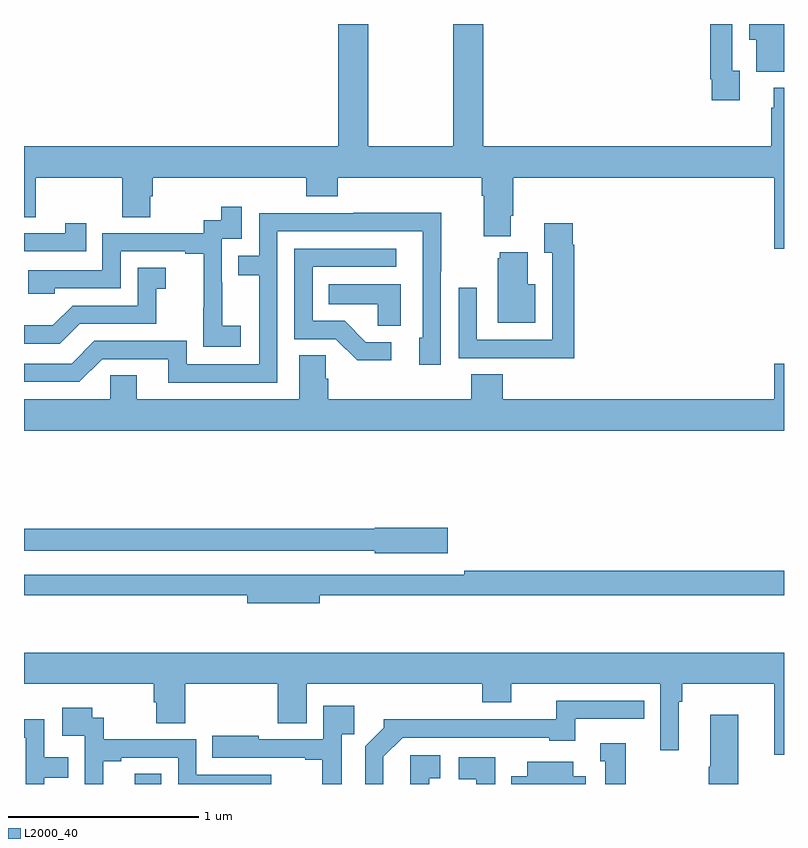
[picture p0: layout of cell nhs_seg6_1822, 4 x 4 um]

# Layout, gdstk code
import gdstk
lib = gdstk.Library(unit=1e-6, precision=1e-09)
def R(c, l, rs):  # rectangles x0, y0, x1, y1
    for r in rs: c.add(gdstk.rectangle(r[:2], r[2:], *l))
def P(c, l, *ps):  # polygons
    for p in ps: c.add(gdstk.Polygon(p, *l))
L2000_40 = (2000, 40)

nhs_seg6_1822 = lib.new_cell('nhs_seg6_1822')
R(nhs_seg6_1822, L2000_40, [(221.582,921.5,221.722,921.554)])
P(nhs_seg6_1822, L2000_40, [(225,925.165),(224.945,925.165),(224.945,925.058),(224.933,925.058),(224.933,924.856),(223.418,924.856),(223.418,925.5),(223.258,925.5),(223.258,924.856),(222.813,924.856),(222.813,925.5),(222.653,925.5),(222.653,924.856),(221,924.856),(221,924.484),(221.061,924.484),(221.061,924.692),(221.518,924.692),(221.518,924.484),(221.665,924.484),(221.665,924.594),(221.678,924.594),(221.678,924.692),(222.485,924.692),(222.485,924.593),(222.65,924.593),(222.65,924.692),(223.409,924.692),(223.409,924.596),(223.421,924.596),(223.421,924.383),(223.561,924.383),(223.561,924.49),(223.574,924.49),(223.574,924.692),(224.948,924.692),(224.948,924.318),(225,924.318)],
  [(225,925.5),(224.816,925.5),(224.816,925.418),(224.855,925.418),(224.855,925.25),(225,925.25)],
  [(224.767,925.254),(224.727,925.254),(224.727,925.5),(224.611,925.5),(224.611,925.21),(224.619,925.21),(224.619,925.098),(224.767,925.098)],
  [(222.142,923.911),(222.044,923.911),(222.044,924.14),(222.042,924.14),(222.042,924.369),(222.147,924.369),(222.147,924.538),(222.039,924.538),(222.039,924.468),(221.946,924.468),(221.946,924.399),(221.412,924.399),(221.412,924.204),(221.023,924.204),(221.023,924.081),(221.163,924.081),(221.163,924.108),(221.508,924.108),(221.508,924.303),(221.849,924.303),(221.849,924.291),(221.945,924.291),(221.945,924.007),(221.944,924.007),(221.944,923.801),(222.142,923.801)],
  [(222.333,924.408),(223.098,924.408),(223.098,923.85),(223.079,923.85),(223.079,923.706),(223.194,923.706),(223.194,924.199),(223.197,924.199),(223.197,924.506),(222.733,924.506),(222.733,924.504),(222.237,924.504),(222.237,924.279),(222.127,924.279),(222.127,924.178),(222.237,924.178),(222.237,923.709),(221.856,923.709),(221.856,923.832),(221.37,923.832),(221.25,923.712),(221,923.712),(221,923.616),(221.292,923.616),(221.412,923.736),(221.759,923.736),(221.759,923.613),(222.333,923.613)],
  [(223.895,924.338),(223.888,924.338),(223.888,924.451),(223.739,924.451),(223.739,924.295),(223.779,924.295),(223.779,923.838),(223.383,923.838),(223.383,924.112),(223.287,924.112),(223.287,923.742),(223.603,923.742),(223.603,923.741),(223.895,923.741)],
  [(221.327,924.451),(221.216,924.451),(221.216,924.399),(221,924.399),(221,924.303),(221.327,924.303)],
  [(222.934,923.826),(222.799,923.826),(222.688,923.937),(222.519,923.937),(222.519,924.222),(222.958,924.222),(222.958,924.318),(222.423,924.318),(222.423,923.841),(222.642,923.841),(222.755,923.729),(222.934,923.729)],
  [(223.69,924.13),(223.651,924.13),(223.651,924.298),(223.505,924.298),(223.505,924.267),(223.493,924.267),(223.493,923.927),(223.69,923.927)],
  [(221.293,923.922),(221.697,923.922),(221.697,924.107),(221.746,924.107),(221.746,924.217),(221.598,924.217),(221.598,924.018),(221.256,924.018),(221.152,923.914),(221,923.914),(221,923.817),(221.188,923.817)],
  [(222.982,924.13),(222.604,924.13),(222.604,924.026),(222.861,924.026),(222.861,923.911),(222.982,923.911)],
  [(225,923.713),(224.948,923.713),(224.948,923.524),(223.52,923.524),(223.52,923.657),(223.355,923.657),(223.355,923.524),(222.602,923.524),(222.602,923.633),(222.588,923.633),(222.588,923.756),(222.449,923.756),(222.449,923.524),(221.593,923.524),(221.593,923.651),(221.454,923.651),(221.454,923.524),(221,923.524),(221,923.36),(225,923.36)],
  [(223.231,922.85),(222.846,922.85),(222.846,922.844),(221,922.844),(221,922.728),(222.846,922.728),(222.846,922.715),(223.231,922.715)],
  [(222.556,922.494),(225,922.494),(225,922.622),(223.318,922.622),(223.318,922.602),(221,922.602),(221,922.494),(222.176,922.494),(222.176,922.451),(222.556,922.451)],
  [(225,922.192),(221,922.192),(221,922.028),(221.684,922.028),(221.684,921.93),(221.696,921.93),(221.696,921.82),(221.849,921.82),(221.849,922.028),(222.335,922.028),(222.335,921.82),(222.487,921.82),(222.487,922.028),(223.412,922.028),(223.412,921.929),(223.564,921.929),(223.564,922.028),(224.349,922.028),(224.349,921.678),(224.446,921.678),(224.446,921.932),(224.465,921.932),(224.465,922.028),(224.948,922.028),(224.948,921.654),(225,921.654)],
  [(222.892,921.643),(222.993,921.744),(223.764,921.744),(223.764,921.728),(223.9,921.728),(223.9,921.843),(224.264,921.843),(224.264,921.939),(223.801,921.939),(223.801,921.84),(223.328,921.84),(223.328,921.842),(222.894,921.842),(222.894,921.797),(222.795,921.698),(222.795,921.5),(222.892,921.5)],
  [(222.672,921.761),(222.737,921.761),(222.737,921.913),(222.576,921.913),(222.576,921.735),(222.235,921.735),(222.235,921.754),(221.992,921.754),(221.992,921.639),(222.479,921.639),(222.479,921.627),(222.571,921.627),(222.571,921.5),(222.672,921.5)],
  [(221.416,921.619),(221.512,921.619),(221.512,921.639),(221.811,921.639),(221.811,921.5),(222.302,921.5),(222.302,921.549),(221.907,921.549),(221.907,921.735),(221.42,921.735),(221.42,921.849),(221.358,921.849),(221.358,921.901),(221.202,921.901),(221.202,921.753),(221.319,921.753),(221.319,921.5),(221.416,921.5)],
  [(224.758,921.865),(224.612,921.865),(224.612,921.59),(224.605,921.59),(224.605,921.5),(224.758,921.5)],
  [(221.107,921.534),(221.234,921.534),(221.234,921.642),(221.106,921.642),(221.106,921.84),(221,921.84),(221,921.744),(221.01,921.744),(221.01,921.5),(221.107,921.5)],
  [(224.167,921.715),(224.033,921.715),(224.033,921.621),(224.058,921.621),(224.058,921.5),(224.167,921.5)],
  [(223.134,921.531),(223.192,921.531),(223.192,921.652),(223.034,921.652),(223.034,921.5),(223.134,921.5)],
  [(223.479,921.642),(223.287,921.642),(223.287,921.526),(223.381,921.526),(223.381,921.5),(223.479,921.5)],
  [(223.957,921.541),(223.891,921.541),(223.891,921.616),(223.649,921.616),(223.649,921.541),(223.564,921.541),(223.564,921.5),(223.957,921.5)])

lib.write_gds('nhs_seg6_1822.gds')
